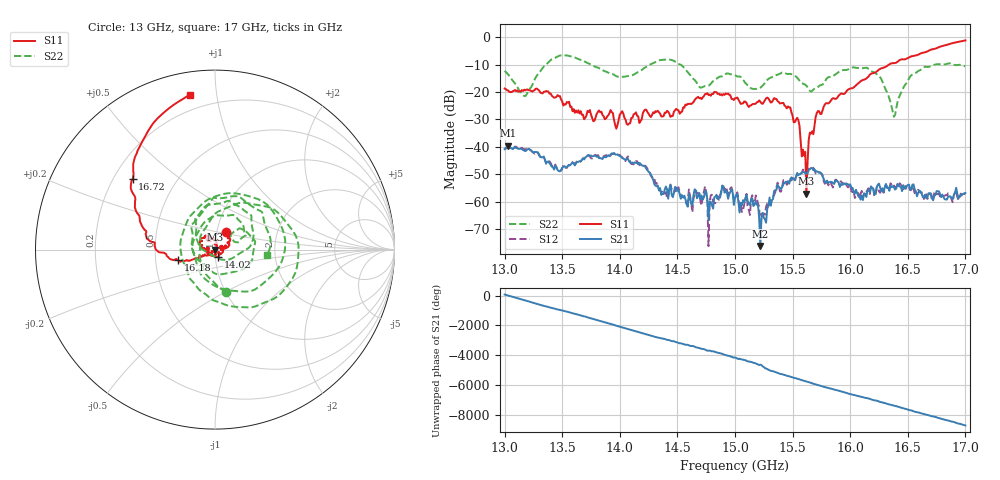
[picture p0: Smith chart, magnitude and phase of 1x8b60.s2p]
!Keysight Technologies,P9374A,MY57211807,A.19.30.04
!Date: Friday, May 08, 2026 14:30:05
!Correction: S11(C  2-Port  )
!S21(C  2-Port  )
!S12(C  2-Port  )
!S22(C  2-Port  )
!S2P File: Measurements: S11, S21, S12, S22:
# Hz S  dB  R 50
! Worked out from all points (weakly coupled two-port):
!   401 points, 13 GHz to 17 GHz, reference 50 ohm
!   highest |S21| = -39.56 dB at 13.03 GHz (marker M1); lowest = -76.1 dB at 15.22 GHz (marker M2)
!   lowest |S11| = -57.1 dB at 15.62 GHz (marker M3), VSWR 1.00, Z = 50.1 + j0.00417 ohm
!   |S11| at or under -10 dB: start of sweep to 16.34 GHz
!   |S22| runs from -29.0 to -6.6 dB; largest |S21 - S12| = 0.00094
!   S11 on the Smith chart (normalised r, x): 13 GHz: 1.10, +0.22; 14.02 GHz: 1.03, -0.09; 16.18 GHz: 0.65, -0.08; 16.72 GHz: 0.28, +0.35; 17 GHz: 0.12, +0.84
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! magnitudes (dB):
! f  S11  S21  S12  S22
! 13 GHz  -18.7  -40.8  -40.8  -12.3
! 13.03 GHz  -19.4  -39.6  -39.5  -13.5
! 13.17 GHz  -19.1  -41.4  -40.8  -21.5
! 13.41 GHz  -21.3  -47.2  -46.8  -8.0
! 13.67 GHz  -28.3  -44.8  -44.8  -8.4
! 14.02 GHz  -27.0  -44.0  -43.7  -14.4
! 14.34 GHz  -27.4  -55.9  -55.5  -8.5
! 14.71 GHz  -22.6  -57.7  -61.4  -18.4
! 15 GHz  -22.3  -58.7  -58.1  -13.8
! 15.16 GHz  -24.3  -61.5  -61.4  -18.9
! 15.22 GHz  -23.5  -76.1  -71.5  -18.4
! 15.47 GHz  -25.6  -53.4  -53.1  -13.4
! 15.54 GHz  -29.4  -49.5  -49.9  -14.8
! 15.62 GHz  -57.1  -49.6  -49.2  -17.7
! 15.67 GHz  -34.3  -47.7  -47.5  -19.6
! 15.79 GHz  -24.1  -53.2  -51.8  -15.4
! 16.18 GHz  -13.4  -54.4  -54.9  -12.3
! 16.34 GHz  -9.9  -56.0  -55.1  -22.3
! 16.38 GHz  -9.5  -54.8  -54.1  -29.0
! 16.52 GHz  -7.2  -55.2  -55.8  -14.3
! 16.72 GHz  -4.4  -59.5  -58.2  -10.2
! 17 GHz  -1.2  -56.8  -57.0  -10.6
